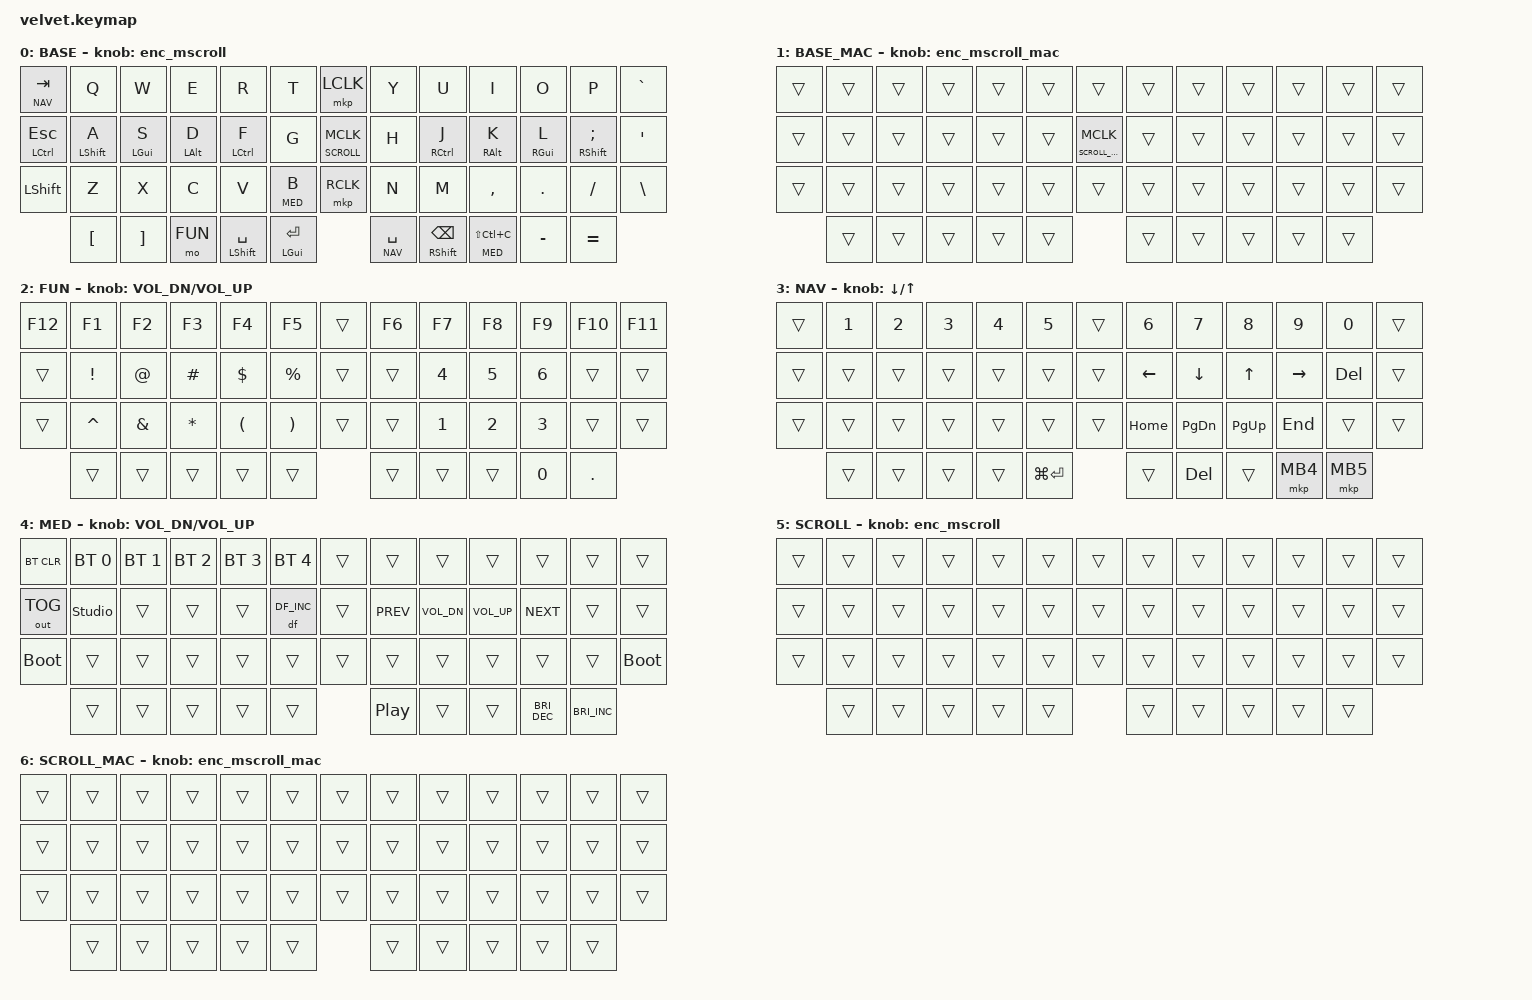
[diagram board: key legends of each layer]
#define ZMK_POINTING_DEFAULT_SCRL_VAL 280

#define BASE 0
#define BASE_MAC 1
#define FUN 2
#define NAV 3
#define MED 4
#define SCROLL 5
#define SCROLL_MAC 6

#include <zephyr/dt-bindings/input/input-event-codes.h>
#include <input/processors.dtsi>
#include <behaviors/runtime-sensor-rotate.dtsi>
#include <behaviors.dtsi>
#include <behaviors/default_layer.dtsi>
#include <dt-bindings/zmk/bt.h>
#include <dt-bindings/zmk/keys.h>
#include <dt-bindings/zmk/outputs.h>
#include <dt-bindings/zmk/pointing.h>
#include <dt-bindings/zmk_behavior_default_layer/default_layer.h>

&lt { quick-tap-ms = <150>; };

&mt { quick-tap-ms = <150>; };

&msc {
    acceleration-exponent = <0>;
    time-to-max-speed-ms = <0>;
    delay-ms = <0>;
};

/ {
    behaviors {
        lh_pht: left_positional_hold_tap {
            compatible = "zmk,behavior-hold-tap";
            #binding-cells = <2>;
            flavor = "balanced";
            tapping-term-ms = <400>;
            quick-tap-ms = <200>;
            bindings = <&kp>, <&kp>;

            hold-trigger-key-positions = <7 8 9 10 11 12 20 21 22 23 24 25 33 34 35 36 37 38 44 45 46 47 48>;
            hold-trigger-on-release;
            require-prior-idle-ms = <150>;
        };

        rh_pht: right_positional_hold_tap {
            compatible = "zmk,behavior-hold-tap";
            #binding-cells = <2>;
            flavor = "balanced";
            tapping-term-ms = <400>;
            quick-tap-ms = <200>;
            bindings = <&kp>, <&kp>;

            hold-trigger-key-positions = <0 1 2 3 4 5 6 13 14 15 16 17 18 19 26 27 28 29 30 31 32 39 40 41 42 43>;
            hold-trigger-on-release;
            require-prior-idle-ms = <150>;
        };

        enc_mscroll: encoder_mouse_scroll {
            compatible = "zmk,behavior-sensor-rotate";
            #sensor-binding-cells = <0>;
            tap-ms = <50>;
            bindings = <&msc SCRL_UP>, <&msc SCRL_DOWN>;
        };

        enc_mscroll_mac: encoder_mouse_scroll_mac {
            compatible = "zmk,behavior-sensor-rotate";
            #sensor-binding-cells = <0>;
            tap-ms = <25>;
            bindings = <&msc MOVE_Y(70)>, <&msc MOVE_Y(-70)>;
        };

        rsr_vol: rsr_vol {
            compatible = "zmk,behavior-runtime-sensor-rotate";
            #sensor-binding-cells = <0>;
            tap-ms = <5>;
            cw-binding = <&kp C_VOL_UP>;
            ccw-binding = <&kp C_VOL_DN>;
        };

        lt_bt: layer_tap_bt {
            compatible = "zmk,behavior-hold-tap";
            #binding-cells = <2>;
            flavor = "tap-preferred";
            tapping-term-ms = <500>;
            bindings = <&mo>, <&kp>;
        };

        lt_med: layer_tap_med {
            compatible = "zmk,behavior-hold-tap";
            #binding-cells = <2>;
            flavor = "hold-preferred";
            tapping-term-ms = <200>;
            bindings = <&mo>, <&kp>;
        };

        lt_mkp: layer_tap_mouse_key_press {
            compatible = "zmk,behavior-hold-tap";
            #binding-cells = <2>;
            flavor = "hold-preferred";
            tapping-term-ms = <200>;
            bindings = <&mo>, <&mkp>;
        };
    };

    keymap {
        compatible = "zmk,keymap";

        BASE {
            label = "BASE";
            bindings = <
&lt NAV TAB    &kp Q                 &kp W               &kp E               &kp R                 &kp T                   &mkp LCLK            &kp Y          &kp U                      &kp I                &kp O                &kp P                          &kp GRAVE
&mt LCTRL ESC  &lh_pht LEFT_SHIFT A  &lh_pht LEFT_GUI S  &lh_pht LEFT_ALT D  &lh_pht LCTRL F       &kp G                   &lt_mkp SCROLL MCLK  &kp H          &rh_pht RCTRL J            &rh_pht RIGHT_ALT K  &rh_pht RIGHT_GUI L  &rh_pht RIGHT_SHIFT SEMICOLON  &kp SQT
&kp LSHFT      &kp Z                 &kp X               &kp C               &kp V                 &lt_bt MED B            &mkp RCLK            &kp N          &kp M                      &kp COMMA            &kp DOT              &kp FSLH                       &kp BSLH
               &kp LBKT              &kp RBKT            &mo FUN             &mt LEFT_SHIFT SPACE  &mt LEFT_GUI ENTER                           &lt NAV SPACE  &mt RIGHT_SHIFT BACKSPACE  &lt_med MED LS(LC(C))  &kp MINUS          &kp EQUAL
            >;

            sensor-bindings = <&enc_mscroll>;
        };

        BASE_MAC {
            label = "BASE_MAC";
            bindings = <
&trans  &trans  &trans  &trans  &trans  &trans  &trans                   &trans  &trans  &trans  &trans  &trans  &trans
&trans  &trans  &trans  &trans  &trans  &trans  &lt_mkp SCROLL_MAC MCLK  &trans  &trans  &trans  &trans  &trans  &trans
&trans  &trans  &trans  &trans  &trans  &trans  &trans                   &trans  &trans  &trans  &trans  &trans  &trans
        &trans  &trans  &trans  &trans  &trans                           &trans  &trans  &trans  &trans  &trans
            >;

            sensor-bindings = <&enc_mscroll_mac>;
        };

        FUN {
            label = "FUN";
            bindings = <
&kp F12  &kp F1     &kp F2    &kp F3    &kp F4    &kp F5     &trans  &kp F6  &kp F7  &kp F8  &kp F9  &kp F10  &kp F11
&trans   &kp EXCL   &kp AT    &kp HASH  &kp DLLR  &kp PRCNT  &trans  &trans  &kp N4  &kp N5  &kp N6  &trans   &trans
&trans   &kp CARET  &kp AMPS  &kp STAR  &kp LPAR  &kp RPAR   &trans  &trans  &kp N1  &kp N2  &kp N3  &trans   &trans
         &trans     &trans    &trans    &trans    &trans             &trans  &trans  &trans  &kp N0  &kp DOT
            >;

            sensor-bindings = <&inc_dec_kp C_VOL_DN C_VOL_UP>;
        };

        NAV {
            label = "NAV";
            bindings = <
&trans  &kp N1  &kp N2  &kp N3  &kp N4  &kp N5         &trans  &kp N6    &kp N7         &kp N8     &kp N9     &kp N0      &trans
&trans  &trans  &trans  &trans  &trans  &trans         &trans  &kp LEFT  &kp DOWN       &kp UP     &kp RIGHT  &kp DELETE  &trans
&trans  &trans  &trans  &trans  &trans  &trans         &trans  &kp HOME  &kp PAGE_DOWN  &kp PG_UP  &kp END    &trans      &trans
        &trans  &trans  &trans  &trans  &kp LG(ENTER)          &trans    &kp DELETE     &trans     &mkp MB4   &mkp MB5
            >;

            sensor-bindings = <&inc_dec_kp DOWN UP>;
        };

        MED {
            label = "MED";
            bindings = <
&bt BT_CLR    &bt BT_SEL 0    &bt BT_SEL 1  &bt BT_SEL 2  &bt BT_SEL 3  &bt BT_SEL 4  &trans  &trans            &trans        &trans        &trans                &trans                &trans
&out OUT_TOG  &studio_unlock  &trans        &trans        &trans        &df DF_INC    &trans  &kp C_PREV        &kp C_VOL_DN  &kp C_VOL_UP  &kp C_NEXT            &trans                &trans
&bootloader   &trans          &trans        &trans        &trans        &trans        &trans  &trans            &trans        &trans        &trans                &trans                &bootloader
              &trans          &trans        &trans        &trans        &trans                &kp C_PLAY_PAUSE  &trans        &trans        &kp C_BRIGHTNESS_DEC  &kp C_BRIGHTNESS_INC
            >;

            sensor-bindings = <&inc_dec_kp C_VOL_DN C_VOL_UP>;
        };

        SCROLL {
            label = "SCROLL";
            bindings = <
&trans  &trans  &trans  &trans  &trans  &trans  &trans  &trans  &trans  &trans  &trans  &trans  &trans
&trans  &trans  &trans  &trans  &trans  &trans  &trans  &trans  &trans  &trans  &trans  &trans  &trans
&trans  &trans  &trans  &trans  &trans  &trans  &trans  &trans  &trans  &trans  &trans  &trans  &trans
        &trans  &trans  &trans  &trans  &trans          &trans  &trans  &trans  &trans  &trans
            >;

            sensor-bindings = <&enc_mscroll>;
        };

        SCROLL_MAC {
            label = "SCROLL_MAC";
            bindings = <
&trans  &trans  &trans  &trans  &trans  &trans  &trans  &trans  &trans  &trans  &trans  &trans  &trans
&trans  &trans  &trans  &trans  &trans  &trans  &trans  &trans  &trans  &trans  &trans  &trans  &trans
&trans  &trans  &trans  &trans  &trans  &trans  &trans  &trans  &trans  &trans  &trans  &trans  &trans
        &trans  &trans  &trans  &trans  &trans          &trans  &trans  &trans  &trans  &trans
            >;

            sensor-bindings = <&enc_mscroll_mac>;
        };
    };
};
